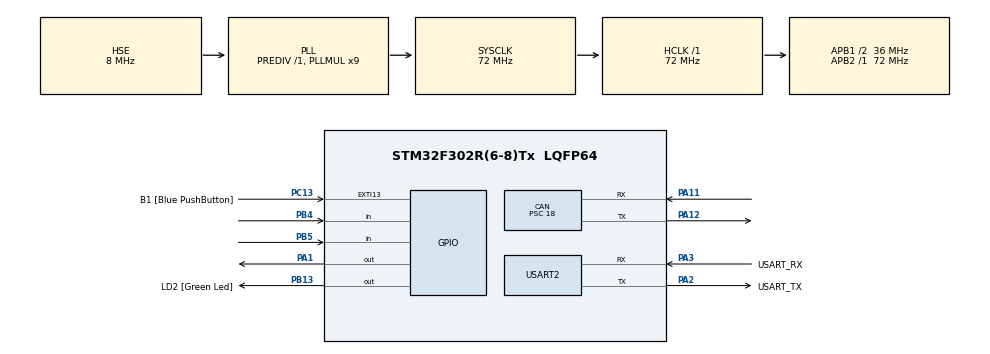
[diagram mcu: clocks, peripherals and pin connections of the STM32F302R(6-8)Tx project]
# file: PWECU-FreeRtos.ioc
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CAN.BS1=CAN_BS1_2TQ
CAN.CalculateBaudRate=500000
CAN.CalculateTimeBit=2000
CAN.CalculateTimeQuantum=500.0
CAN.Prescaler=18
FREERTOS.Queues01=SpeedQueue,1,uint8_t,0,Dynamic,NULL,NULL;TempHumiQueue,1,uint16_t,0,Dynamic,NULL,NULL
FREERTOS.Tasks01=SpeedBtns,24,128,SpeedBtnsTask,Default,NULL,Dynamic,NULL,NULL;CAN,32,128,CANTask,Default,NULL,Dynamic,NULL,NULL;TempHumiSensor,16,128,TempHumiSensorTask,Default,NULL,Dynamic,NULL,NULL
Mcu.Family=STM32F3
Mcu.Name=STM32F302R(6-8)Tx
Mcu.Package=LQFP64
NVIC.PriorityGroup=NVIC_PRIORITYGROUP_4
NVIC.TIM1_UP_TIM16_IRQn=true\:15\:0\:false\:false\:true\:false\:false\:true\:true
NVIC.TimeBase=TIM1_UP_TIM16_IRQn
NVIC.TimeBaseIP=TIM1
PA1.Signal=GPIO_Output
PA11.Mode=CAN_Activate
PA11.Signal=CAN_RX
PA12.Mode=CAN_Activate
PA12.Signal=CAN_TX
PA13.GPIO_Label=TMS
PA13.Mode=Trace_Asynchronous_SW
PA13.Signal=SYS_JTMS-SWDIO
PA14.GPIO_Label=TCK
PA14.Mode=Trace_Asynchronous_SW
PA14.Signal=SYS_JTCK-SWCLK
PA2.GPIO_Label=USART_TX
PA2.GPIO_Mode=GPIO_MODE_AF_PP
PA2.GPIO_PuPd=GPIO_NOPULL
PA2.GPIO_Speed=GPIO_SPEED_FREQ_LOW
PA2.Mode=Asynchronous
PA2.Signal=USART2_TX
PA3.GPIO_Label=USART_RX
PA3.GPIO_Mode=GPIO_MODE_AF_PP
PA3.GPIO_PuPd=GPIO_NOPULL
PA3.GPIO_Speed=GPIO_SPEED_FREQ_LOW
PA3.Mode=Asynchronous
PA3.Signal=USART2_RX
PB13.GPIO_Label=LD2 [Green Led]
PB13.Signal=GPIO_Output
PB3.GPIO_Label=SWO
PB3.Mode=Trace_Asynchronous_SW
PB3.Signal=SYS_JTDO-TRACESWO
PB4.GPIO_PuPd=GPIO_PULLDOWN
PB4.Signal=GPIO_Input
PB5.GPIO_PuPd=GPIO_PULLDOWN
PB5.Signal=GPIO_Input
PC13.GPIO_Label=B1 [Blue PushButton]
PC13.GPIO_ModeDefaultEXTI=GPIO_MODE_IT_FALLING
PC13.Signal=GPXTI13
PC14\ -\ OSC32_IN.Mode=LSE-External-Oscillator
PC14\ -\ OSC32_IN.Signal=RCC_OSC32_IN
PC15\ -\ OSC32_OUT.Mode=LSE-External-Oscillator
PC15\ -\ OSC32_OUT.Signal=RCC_OSC32_OUT
PF0-OSC_IN.Mode=HSE-External-Oscillator
PF0-OSC_IN.Signal=RCC_OSC_IN
PF1-OSC_OUT.Mode=HSE-External-Oscillator
PF1-OSC_OUT.Signal=RCC_OSC_OUT
ProjectManager.HeapSize=0x200
ProjectManager.StackSize=0x400
ProjectManager.TargetToolchain=STM32CubeIDE
RCC.AHBFreq_Value=72000000
RCC.APB1CLKDivider=RCC_HCLK_DIV2
RCC.APB1Freq_Value=36000000
RCC.APB1TimFreq_Value=72000000
RCC.APB2Freq_Value=72000000
RCC.APB2TimFreq_Value=72000000
RCC.CortexFreq_Value=72000000
RCC.HCLKFreq_Value=72000000
RCC.HSE_VALUE=8000000
RCC.HSI_VALUE=8000000
RCC.PLLM=8
RCC.PLLMUL=RCC_PLL_MUL9
RCC.PLLN=336
RCC.PLLP=RCC_PLLP_DIV4
RCC.PLLQ=7
RCC.PLLSourceVirtual=RCC_PLLSOURCE_HSE
RCC.SYSCLKFreq_VALUE=72000000
RCC.SYSCLKSourceVirtual=RCC_SYSCLKSOURCE_PLLCLK
RCC.USBFreq_Value=72000000
TIM6.Prescaler=72-1
USART2.VirtualMode-Asynchronous=VM_ASYNC
VP_FREERTOS_VS_CMSIS_V2.Mode=CMSIS_V2
VP_SYS_VS_tim1.Mode=TIM1
VP_TIM6_VS_ClockSourceINT.Mode=Enable_Timer
board=NUCLEO-F302R8

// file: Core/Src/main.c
/* USER CODE BEGIN Header */
/**
  ******************************************************************************
  * @file           : main.c
  * @brief          : Main program body
  ******************************************************************************
  * @attention
  *
  * Copyright (c) 2026 STMicroelectronics.
  * All rights reserved.
  *
  * This software is licensed under terms that can be found in the LICENSE file
  * in the root directory of this software component.
  * If no LICENSE file comes with this software, it is provided AS-IS.
  *
  ******************************************************************************
  */
/* USER CODE END Header */
#include "main.h"
#include "cmsis_os.h"

/* USER CODE BEGIN Includes */
#include "SpeedBtns.h"
#include "DHT11.h"
#include "Cmn.h"

/* USER CODE END Includes */

CAN_HandleTypeDef hcan;

TIM_HandleTypeDef htim6;

UART_HandleTypeDef huart2;

/* Definitions for SpeedBtns */
osThreadId_t SpeedBtnsHandle;
const osThreadAttr_t SpeedBtns_attributes = {
  .name = "SpeedBtns",
  .stack_size = 128 * 4,
  .priority = (osPriority_t) osPriorityNormal,
};
/* Definitions for CAN */
osThreadId_t CANHandle;
const osThreadAttr_t CAN_attributes = {
  .name = "CAN",
  .stack_size = 256 * 4,
  .priority = (osPriority_t) osPriorityAboveNormal,
};
/* Definitions for TempHumiSensor */
osThreadId_t TempHumiSensorHandle;
const osThreadAttr_t TempHumiSensor_attributes = {
  .name = "TempHumiSensor",
  .stack_size = 1024 * 4,
  .priority = (osPriority_t) osPriorityBelowNormal,
};
/* Definitions for SpeedQueue */
osMessageQueueId_t SpeedQueueHandle;
const osMessageQueueAttr_t SpeedQueue_attributes = {
  .name = "SpeedQueue"
};
/* USER CODE BEGIN PV */
/* Definitions for SpeedQueue */
osMessageQueueId_t TempHumiQueueHandle;
const osMessageQueueAttr_t TempHumiQueue_attributes = {
  .name = "TempHumiQueue"
};

/* USER CODE END PV */

void SystemClock_Config(void);
static void MX_GPIO_Init(void);
static void MX_USART2_UART_Init(void);
static void MX_TIM6_Init(void);
static void MX_CAN_Init(void);
void SpeedBtnsTask(void *argument);
void CANTask(void *argument);
void TempHumiTask(void *argument);

int main(void)
{

  /* MCU Configuration--------------------------------------------------------*/

  /* Reset of all peripherals, Initializes the Flash interface and the Systick. */
  HAL_Init();

  /* Configure the system clock */
  SystemClock_Config();

  /* Initialize all configured peripherals */
  MX_GPIO_Init();
  MX_USART2_UART_Init();
  MX_TIM6_Init();
  MX_CAN_Init();
  /* USER CODE BEGIN 2 */
  HAL_TIM_Base_Start(&htim6);
  HAL_CAN_Start(&hcan);
  /* USER CODE END 2 */

  /* Init scheduler */
  osKernelInitialize();

  /* Create the queue(s) */
  /* creation of SpeedQueue */
  SpeedQueueHandle = osMessageQueueNew (1, sizeof(uint8_t), &SpeedQueue_attributes);

  /* USER CODE BEGIN RTOS_QUEUES */
  TempHumiQueueHandle = osMessageQueueNew (1, sizeof(DHT11_Data_t), &TempHumiQueue_attributes);
  /* add queues, ... */
  /* USER CODE END RTOS_QUEUES */

  /* Create the thread(s) */
  /* creation of SpeedBtns */
  SpeedBtnsHandle = osThreadNew(SpeedBtnsTask, NULL, &SpeedBtns_attributes);

  /* creation of CAN */
  CANHandle = osThreadNew(CANTask, NULL, &CAN_attributes);

  /* creation of TempHumiSensor */
  TempHumiSensorHandle = osThreadNew(TempHumiTask, NULL, &TempHumiSensor_attributes);

  /* Start scheduler */
  osKernelStart();

  /* We should never get here as control is now taken by the scheduler */

  /* Infinite loop */
  while (1)
  {

  }
}

void SystemClock_Config(void)
{
  RCC_OscInitTypeDef RCC_OscInitStruct = {0};
  RCC_ClkInitTypeDef RCC_ClkInitStruct = {0};

  /** Initializes the RCC Oscillators according to the specified parameters
  * in the RCC_OscInitTypeDef structure.
  */
  RCC_OscInitStruct.OscillatorType = RCC_OSCILLATORTYPE_HSE;
  RCC_OscInitStruct.HSEState = RCC_HSE_BYPASS;
  RCC_OscInitStruct.HSEPredivValue = RCC_HSE_PREDIV_DIV1;
  RCC_OscInitStruct.HSIState = RCC_HSI_ON;
  RCC_OscInitStruct.PLL.PLLState = RCC_PLL_ON;
  RCC_OscInitStruct.PLL.PLLSource = RCC_PLLSOURCE_HSE;
  RCC_OscInitStruct.PLL.PLLMUL = RCC_PLL_MUL9;
  if (HAL_RCC_OscConfig(&RCC_OscInitStruct) != HAL_OK)
  {
    Error_Handler();
  }

  /** Initializes the CPU, AHB and APB buses clocks
  */
  RCC_ClkInitStruct.ClockType = RCC_CLOCKTYPE_HCLK|RCC_CLOCKTYPE_SYSCLK
                              |RCC_CLOCKTYPE_PCLK1|RCC_CLOCKTYPE_PCLK2;
  RCC_ClkInitStruct.SYSCLKSource = RCC_SYSCLKSOURCE_PLLCLK;
  RCC_ClkInitStruct.AHBCLKDivider = RCC_SYSCLK_DIV1;
  RCC_ClkInitStruct.APB1CLKDivider = RCC_HCLK_DIV2;
  RCC_ClkInitStruct.APB2CLKDivider = RCC_HCLK_DIV1;

  if (HAL_RCC_ClockConfig(&RCC_ClkInitStruct, FLASH_LATENCY_2) != HAL_OK)
  {
    Error_Handler();
  }
}

static void MX_CAN_Init(void)
{

  hcan.Instance = CAN;
  hcan.Init.Prescaler = 18;
  hcan.Init.Mode = CAN_MODE_NORMAL;
  hcan.Init.SyncJumpWidth = CAN_SJW_1TQ;
  hcan.Init.TimeSeg1 = CAN_BS1_2TQ;
  hcan.Init.TimeSeg2 = CAN_BS2_1TQ;
  hcan.Init.TimeTriggeredMode = DISABLE;
  hcan.Init.AutoBusOff = DISABLE;
  hcan.Init.AutoWakeUp = DISABLE;
  hcan.Init.AutoRetransmission = DISABLE;
  hcan.Init.ReceiveFifoLocked = DISABLE;
  hcan.Init.TransmitFifoPriority = DISABLE;
  if (HAL_CAN_Init(&hcan) != HAL_OK)
  {
    Error_Handler();
  }
  /* USER CODE BEGIN CAN_Init 2 */
  CAN_FilterTypeDef canfilterconfig;

  canfilterconfig.FilterBank = 10;
  canfilterconfig.FilterMode = CAN_FILTERMODE_IDMASK;
  canfilterconfig.FilterScale = CAN_FILTERSCALE_32BIT;
  canfilterconfig.FilterIdHigh = 0x0000;
  canfilterconfig.FilterIdLow = 0x0000;
  canfilterconfig.FilterMaskIdHigh = 0x0000;
  canfilterconfig.FilterMaskIdLow = 0x0000;
  canfilterconfig.FilterFIFOAssignment = CAN_RX_FIFO1; /* The data will be received in FIFO0 */
  canfilterconfig.FilterActivation = CAN_FILTER_ENABLE;
  canfilterconfig.SlaveStartFilterBank = 0;
  if (HAL_CAN_ConfigFilter(&hcan, &canfilterconfig) != HAL_OK)
    {
      /* Filter configuration Error */
      Error_Handler();
    }

  /* USER CODE END CAN_Init 2 */

}

static void MX_TIM6_Init(void)
{

  TIM_MasterConfigTypeDef sMasterConfig = {0};

  htim6.Instance = TIM6;
  htim6.Init.Prescaler = 72-1;
  htim6.Init.CounterMode = TIM_COUNTERMODE_UP;
  htim6.Init.Period = 65535;
  htim6.Init.AutoReloadPreload = TIM_AUTORELOAD_PRELOAD_DISABLE;
  if (HAL_TIM_Base_Init(&htim6) != HAL_OK)
  {
    Error_Handler();
  }
  sMasterConfig.MasterOutputTrigger = TIM_TRGO_RESET;
  sMasterConfig.MasterSlaveMode = TIM_MASTERSLAVEMODE_DISABLE;
  if (HAL_TIMEx_MasterConfigSynchronization(&htim6, &sMasterConfig) != HAL_OK)
  {
    Error_Handler();
  }

}

static void MX_USART2_UART_Init(void)
{

  huart2.Instance = USART2;
  huart2.Init.BaudRate = 38400;
  huart2.Init.WordLength = UART_WORDLENGTH_8B;
  huart2.Init.StopBits = UART_STOPBITS_1;
  huart2.Init.Parity = UART_PARITY_NONE;
  huart2.Init.Mode = UART_MODE_TX_RX;
  huart2.Init.HwFlowCtl = UART_HWCONTROL_NONE;
  huart2.Init.OverSampling = UART_OVERSAMPLING_16;
  huart2.Init.OneBitSampling = UART_ONE_BIT_SAMPLE_DISABLE;
  huart2.AdvancedInit.AdvFeatureInit = UART_ADVFEATURE_NO_INIT;
  if (HAL_UART_Init(&huart2) != HAL_OK)
  {
    Error_Handler();
  }

}

static void MX_GPIO_Init(void)
{
  GPIO_InitTypeDef GPIO_InitStruct = {0};

  /* GPIO Ports Clock Enable */
  __HAL_RCC_GPIOC_CLK_ENABLE();
  __HAL_RCC_GPIOF_CLK_ENABLE();
  __HAL_RCC_GPIOA_CLK_ENABLE();
  __HAL_RCC_GPIOB_CLK_ENABLE();

  /*Configure GPIO pin Output Level */
  HAL_GPIO_WritePin(GPIOA, GPIO_PIN_1, GPIO_PIN_RESET);

  /*Configure GPIO pin Output Level */
  HAL_GPIO_WritePin(LD2_GPIO_Port, LD2_Pin, GPIO_PIN_RESET);

  /*Configure GPIO pin : B1_Pin */
  GPIO_InitStruct.Pin = B1_Pin;
  GPIO_InitStruct.Mode = GPIO_MODE_IT_FALLING;
  GPIO_InitStruct.Pull = GPIO_NOPULL;
  HAL_GPIO_Init(B1_GPIO_Port, &GPIO_InitStruct);

  /*Configure GPIO pin : PA1 */
  GPIO_InitStruct.Pin = GPIO_PIN_1;
  GPIO_InitStruct.Mode = GPIO_MODE_OUTPUT_PP;
  GPIO_InitStruct.Pull = GPIO_NOPULL;
  GPIO_InitStruct.Speed = GPIO_SPEED_FREQ_LOW;
  HAL_GPIO_Init(GPIOA, &GPIO_InitStruct);

  /*Configure GPIO pin : LD2_Pin */
  GPIO_InitStruct.Pin = LD2_Pin;
  GPIO_InitStruct.Mode = GPIO_MODE_OUTPUT_PP;
  GPIO_InitStruct.Pull = GPIO_NOPULL;
  GPIO_InitStruct.Speed = GPIO_SPEED_FREQ_LOW;
  HAL_GPIO_Init(LD2_GPIO_Port, &GPIO_InitStruct);

  /*Configure GPIO pins : PB4 PB5 */
  GPIO_InitStruct.Pin = GPIO_PIN_4|GPIO_PIN_5;
  GPIO_InitStruct.Mode = GPIO_MODE_INPUT;
  GPIO_InitStruct.Pull = GPIO_PULLDOWN;
  HAL_GPIO_Init(GPIOB, &GPIO_InitStruct);

}

void SpeedBtnsTask(void *argument)
{
  /* USER CODE BEGIN 5 */
	uint8_t Speed = 0;
  /* Infinite loop */
  for(;;)
  {
	SpeedCalculate(&Speed);
	osMessageQueuePut(SpeedQueueHandle, &Speed, 0, 0);
    osDelay(50);
  }
  /* USER CODE END 5 */
}

void CANTask(void *argument)
{
  /* USER CODE BEGIN CANTask */
	uint8_t speed = 0;
	DHT11_Data_t dht11_data = {0.0, 0.0};

	CAN_TxHeaderTypeDef TxHeader;
	uint8_t TxData[8];
	uint32_t TxMailbox;
  /* Infinite loop */
  for(;;)
  {
	osMessageQueueGet(SpeedQueueHandle, &speed, NULL, 0);
	osMessageQueueGet(TempHumiQueueHandle, &dht11_data, NULL, 0);

	// Send Message 1: Speed
	TxHeader.IDE = CAN_ID_STD;
	TxHeader.StdId = 0x301;
	TxHeader.DLC = 1;
	TxData[0] = speed;
	TxHeader.RTR = CAN_RTR_DATA;
	printf("Speed: %u\r\n", speed);
	if (HAL_CAN_AddTxMessage(&hcan, &TxHeader, TxData, &TxMailbox) != HAL_OK){
		Error_Handler();
	}

	osDelay(10);

	if(dht11_data.temperature > 0){// Send Message 2: Temp & Humidity
		TxHeader.IDE = CAN_ID_STD;
		TxHeader.StdId = 0x302;
		TxHeader.DLC = 8;
		printf("Temp: %f\r\n", dht11_data.temperature);
		printf("Humi: %f\r\n", dht11_data.humidity);
		memcpy(&TxData[0], &dht11_data.temperature, 4);
		memcpy(&TxData[4], &dht11_data.humidity, 4);
		TxHeader.RTR = CAN_RTR_DATA;
		if (HAL_CAN_AddTxMessage(&hcan, &TxHeader, TxData, &TxMailbox) != HAL_OK){
			Error_Handler();
		}
	}
	osDelay(100);
  }
  /* USER CODE END CANTask */
}

void TempHumiTask(void *argument)
{
    DHT11_Data_t Dht11_Data;

    for(;;)
    {
        DHT11_ReadData(&Dht11_Data);

        osMessageQueuePut(
            TempHumiQueueHandle,
            &Dht11_Data,
            0,
            0
        );

        osDelay(2000);
    }
}
void HAL_TIM_PeriodElapsedCallback(TIM_HandleTypeDef *htim)
{
  if (htim->Instance == TIM1)
  {
    HAL_IncTick();
  }
}

void Error_Handler(void)
{
  __disable_irq();
  while (1)
  {
  }
}
